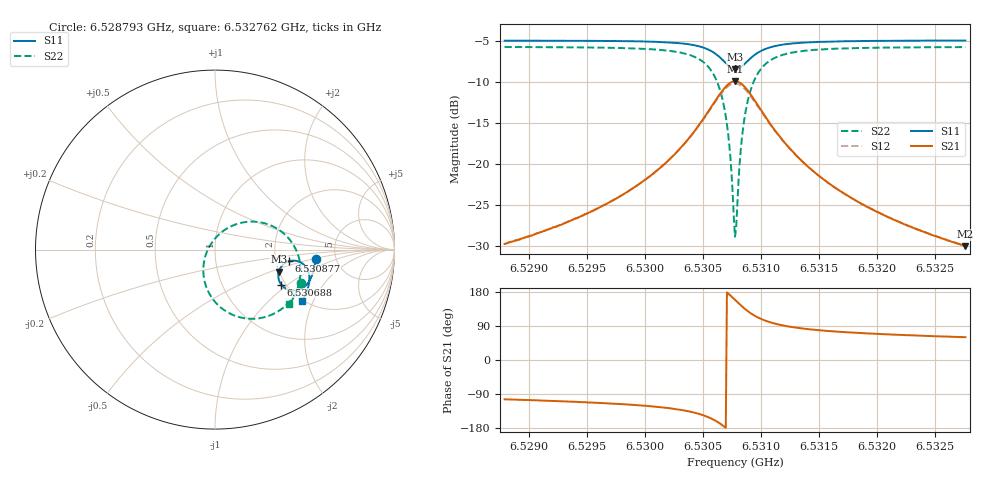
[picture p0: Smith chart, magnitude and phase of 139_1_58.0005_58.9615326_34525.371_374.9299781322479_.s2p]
#  HZ  S  RI  R  50.00
! Rohde & Schwarz Vector Network Analyzer
! Rohde-Schwarz,ZNB20-2Port,1311601062101988,3.16
! Created: UTC 3/21/2024, 12:56:26 AM
! freq[Hz]  re:S11  im:S11  re:S21  im:S21  re:S12  im:S12  re:S22  im:S22
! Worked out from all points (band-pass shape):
!   401 points, 6.528793 GHz to 6.532762 GHz, reference 50 ohm
!   highest |S21| = -9.94 dB at 6.530777 GHz (marker M1); lowest = -30.1 dB at 6.532762 GHz (marker M2)
!   |S21| within 3 dB of the highest: 6.530579 GHz to 6.530977 GHz (397.7 kHz wide, 0.00609 % of centre)
!   lowest |S11| = -8.5 dB at 6.530777 GHz (marker M3), VSWR 2.21, Z = 99.8 - j28.5 ohm
!   |S11| at or under -10 dB: nowhere
!   |S22| runs from -28.9 to -5.8 dB; largest |S21 - S12| = 0.013
!   S11 on the Smith chart (normalised r, x): 6.528793 GHz: 3.49, -0.54; 6.530688 GHz: 1.89, -0.89; 6.530877 GHz: 2.36, -0.37; 6.532762 GHz: 1.97, -1.66
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6.5287928e9  0.5606 -0.0529  -0.00762 -0.0314  -0.00831 -0.0313  0.4815 -0.1836
6.5294576e9  0.5512 -0.1092  -0.0174 -0.0446  -0.0185 -0.0445  0.4492 -0.2464
6.5298248e9  0.5407 -0.1442  -0.0297 -0.0585  -0.0313 -0.0577  0.416 -0.2901
6.5301225e9  0.524 -0.1774  -0.0522 -0.077  -0.0544 -0.0754  0.3643 -0.3358
6.5303507e9  0.497 -0.208  -0.0931 -0.0972  -0.0961 -0.094  0.2807 -0.3752
6.5305194e9  0.4524 -0.2279  -0.1639 -0.1044  -0.1662 -0.0975  0.1503 -0.3799
6.5306186e9  0.406 -0.223  -0.2361 -0.0774  -0.2351 -0.067  0.0293 -0.3202
6.5306881e9  0.3692 -0.1949  -0.2895 -0.0168  -0.2832 -0.00617  -0.0487 -0.2079
6.5307278e9  0.3553 -0.166  -0.3063 0.0379  -0.2965 0.0466  -0.0652 -0.1137
6.5307675e9  0.3536 -0.1312  -0.3015 0.1005  -0.29 0.1055  -0.0451 -0.012
6.5307774e9  0.3555 -0.1225  -0.2964 0.1161  -0.2847 0.1199  -0.0337 0.0121
6.5307873e9  0.3585 -0.114  -0.2899 0.1309  -0.2782 0.1337  -0.0201 0.0352
6.5307973e9  0.3621 -0.1058  -0.2819 0.145  -0.2702 0.1467  -0.00422 0.0565
6.5308171e9  0.3719 -0.0912  -0.2622 0.1699  -0.2514 0.1698  0.0326 0.0938
6.530837e9  0.3841 -0.0794  -0.2393 0.1902  -0.2294 0.1884  0.0743 0.1223
6.5308767e9  0.4118 -0.0646  -0.1887 0.2144  -0.1814 0.211  0.1622 0.1526
6.5309461e9  0.4565 -0.0634  -0.1106 0.2169  -0.1068 0.2137  0.2935 0.1415
6.5310454e9  0.496 -0.0851  -0.0432 0.1853  -0.0413 0.1834  0.4023 0.0713
6.5311942e9  0.5193 -0.1215  -0.00222 0.1371  -0.000988 0.1364  0.4619 -0.0269
6.5314423e9  0.526 -0.1652  0.0154 0.0896  0.0165 0.0895  0.477 -0.127
6.5321072e9  0.5103 -0.2364  0.018 0.0433  0.0187 0.0429  0.4486 -0.2449
6.5327621e9  0.4864 -0.287  0.0156 0.0272  0.0162 0.027  0.4146 -0.305
